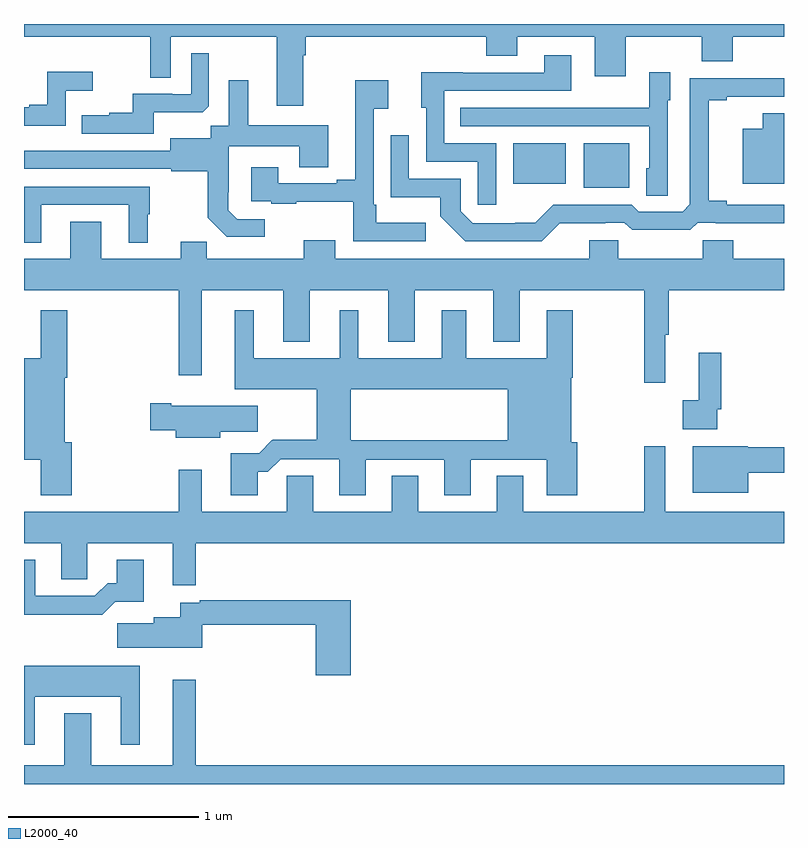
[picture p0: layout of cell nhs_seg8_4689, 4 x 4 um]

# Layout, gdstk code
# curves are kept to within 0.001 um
import gdstk
lib = gdstk.Library(unit=1e-6, precision=1e-09)
def R(c, l, rs):  # rectangles x0, y0, x1, y1
    for r in rs: c.add(gdstk.rectangle(r[:2], r[2:], *l))
def P(c, l, *ps):  # polygons
    for p in ps: c.add(gdstk.Polygon(p, *l))
L2000_40 = (2000, 40)

nhs_seg8_4689 = lib.new_cell('nhs_seg8_4689')
R(nhs_seg8_4689, L2000_40, [(397.946,1117.037,398.185,1117.273), (397.574,1117.058,397.852,1117.273)])
P(nhs_seg8_4689, L2000_40, [(396.469,1117.736),(396.482,1117.736),(396.482,1117.832),(397.433,1117.832),(397.433,1117.733),(397.597,1117.733),(397.597,1117.832),(398.003,1117.832),(398.003,1117.626),(398.167,1117.626),(398.167,1117.832),(398.567,1117.832),(398.567,1117.704),(398.731,1117.704),(398.731,1117.832),(399,1117.832),(399,1117.9),(395,1117.9),(395,1117.832),(395.664,1117.832),(395.664,1117.618),(395.772,1117.618),(395.772,1117.832),(396.329,1117.832),(396.329,1117.47),(396.469,1117.47)],
  [(395.683,1117.436),(395.941,1117.436),(395.973,1117.467),(395.973,1117.747),(395.88,1117.747),(395.88,1117.53),(395.78,1117.53),(395.78,1117.533),(395.573,1117.533),(395.573,1117.432),(395.449,1117.432),(395.449,1117.42),(395.305,1117.42),(395.305,1117.323),(395.683,1117.323)],
  [(397.485,1117.272),(397.212,1117.272),(397.212,1117.548),(397.879,1117.548),(397.879,1117.735),(397.739,1117.735),(397.739,1117.644),(397.309,1117.644),(397.309,1117.646),(397.091,1117.646),(397.091,1117.458),(397.116,1117.458),(397.116,1117.176),(397.389,1117.176),(397.389,1116.948),(397.485,1116.948)],
  [(395.22,1117.55),(395.362,1117.55),(395.362,1117.649),(395.122,1117.649),(395.122,1117.474),(395.027,1117.474),(395.027,1117.461),(395,1117.461),(395,1117.365),(395.22,1117.365)],
  [(398.388,1117.5),(398.401,1117.5),(398.401,1117.645),(398.292,1117.645),(398.292,1117.459),(397.975,1117.459),(397.975,1117.458),(397.297,1117.458),(397.297,1117.362),(398.292,1117.362),(398.292,1117.14),(398.276,1117.14),(398.276,1116.997),(398.388,1116.997)],
  [(397.82,1116.851),(398.06,1116.851),(398.06,1116.855),(398.16,1116.855),(398.2,1116.816),(398.507,1116.816),(398.547,1116.855),(398.641,1116.855),(398.641,1116.851),(399,1116.851),(399,1116.948),(398.698,1116.948),(398.698,1116.971),(398.603,1116.971),(398.603,1117.498),(398.698,1117.498),(398.698,1117.518),(399,1117.518),(399,1117.614),(398.505,1117.614),(398.505,1116.951),(398.466,1116.912),(398.235,1116.912),(398.199,1116.948),(397.785,1116.948),(397.691,1116.854),(397.586,1116.854),(397.586,1116.852),(397.362,1116.852),(397.299,1116.915),(397.299,1117.086),(397.026,1117.086),(397.026,1117.315),(396.93,1117.315),(396.93,1116.989),(397.192,1116.989),(397.192,1116.887),(397.322,1116.756),(397.725,1116.756)],
  [(397.114,1116.853),(396.853,1116.853),(396.853,1116.949),(396.84,1116.949),(396.84,1117.454),(396.916,1117.454),(396.916,1117.603),(396.743,1117.603),(396.743,1117.081),(396.647,1117.081),(396.647,1117.062),(396.337,1117.062),(396.337,1117.147),(396.197,1117.147),(396.197,1116.966),(396.301,1116.966),(396.301,1116.954),(396.433,1116.954),(396.433,1116.965),(396.732,1116.965),(396.732,1116.756),(397.114,1116.756)],
  [(396.268,1116.873),(396.123,1116.873),(396.076,1116.92),(396.076,1117.015),(396.078,1117.015),(396.078,1117.256),(396.449,1117.256),(396.449,1117.147),(396.601,1117.147),(396.601,1117.366),(396.181,1117.366),(396.181,1117.603),(396.077,1117.603),(396.077,1117.364),(395.982,1117.364),(395.982,1117.3),(395.771,1117.3),(395.771,1117.233),(395,1117.234),(395,1117.137),(395.775,1117.137),(395.775,1117.125),(395.967,1117.125),(395.967,1116.879),(396.067,1116.779),(396.268,1116.779)],
  [(399,1117.429),(398.888,1117.429),(398.888,1117.348),(398.783,1117.348),(398.783,1117.058),(399,1117.058)],
  [(395.092,1116.948),(395.552,1116.948),(395.552,1116.749),(395.65,1116.749),(395.65,1116.9),(395.662,1116.9),(395.662,1117.044),(395,1117.044),(395,1116.749),(395.092,1116.749)],
  [(398.375,1116.264),(398.393,1116.264),(398.393,1116.5),(399,1116.5),(399,1116.664),(398.732,1116.664),(398.732,1116.762),(398.572,1116.762),(398.572,1116.664),(398.127,1116.664),(398.127,1116.762),(397.976,1116.762),(397.976,1116.664),(396.637,1116.664),(396.637,1116.763),(396.473,1116.763),(396.473,1116.664),(395.963,1116.664),(395.963,1116.755),(395.825,1116.755),(395.825,1116.664),(395.407,1116.664),(395.407,1116.859),(395.243,1116.859),(395.243,1116.664),(395,1116.664),(395,1116.5),(395.814,1116.5),(395.814,1116.051),(395.935,1116.051),(395.935,1116.5),(396.365,1116.5),(396.365,1116.227),(396.505,1116.227),(396.505,1116.5),(396.917,1116.5),(396.917,1116.227),(397.057,1116.227),(397.057,1116.5),(397.469,1116.5),(397.469,1116.227),(397.609,1116.227),(397.609,1116.5),(398.265,1116.5),(398.265,1116.012),(398.375,1116.012)],
  [(395.252,1115.7),(395.215,1115.7),(395.215,1116.038),(395.228,1116.038),(395.228,1116.394),(395.087,1116.394),(395.087,1116.142),(395,1116.142),(395,1115.607),(395.087,1115.607),(395.087,1115.421),(395.252,1115.421)],
  [(396.089,1115.641),(396.089,1115.421),(396.229,1115.421),(396.229,1115.543),(396.284,1115.543),(396.351,1115.61),(396.659,1115.61),(396.659,1115.421),(396.799,1115.421),(396.799,1115.607),(397.211,1115.607),(397.211,1115.421),(397.351,1115.421),(397.351,1115.607),(397.751,1115.607),(397.751,1115.421),(397.911,1115.421),(397.911,1115.7),(397.879,1115.7),(397.879,1116.038),(397.887,1116.038),(397.887,1116.394),(397.751,1116.394),(397.751,1116.142),(397.327,1116.142),(397.327,1116.394),(397.199,1116.394),(397.199,1116.142),(396.76,1116.142),(396.76,1116.394),(396.662,1116.394),(396.662,1116.142),(396.208,1116.142),(396.208,1116.394),(396.11,1116.394),(396.11,1115.978),(396.541,1115.978),(396.541,1115.711),(396.308,1115.711),(396.305,1115.708),(396.719,1115.708),(396.719,1115.978),(397.547,1115.978),(397.547,1115.708),(396.305,1115.708),(396.238,1115.641)],
  [(398.649,1115.872),(398.669,1115.872),(398.669,1116.169),(398.552,1116.169),(398.552,1115.921),(398.466,1115.921),(398.466,1115.768),(398.649,1115.768)],
  [(396.034,1115.755),(396.229,1115.755),(396.229,1115.89),(395.776,1115.89),(395.776,1115.903),(395.664,1115.903),(395.664,1115.761),(395.798,1115.761),(395.798,1115.723),(396.034,1115.723)],
  [(395.905,1115.168),(399,1115.168),(399,1115.332),(398.374,1115.332),(398.374,1115.677),(398.265,1115.677),(398.265,1115.332),(397.627,1115.332),(397.627,1115.522),(397.487,1115.522),(397.487,1115.332),(397.075,1115.332),(397.075,1115.522),(396.935,1115.522),(396.935,1115.332),(396.523,1115.332),(396.523,1115.522),(396.384,1115.522),(396.384,1115.332),(395.935,1115.332),(395.935,1115.554),(395.814,1115.554),(395.814,1115.332),(395,1115.332),(395,1115.168),(395.195,1115.168),(395.195,1114.978),(395.334,1114.978),(395.334,1115.168),(395.783,1115.168),(395.783,1114.947),(395.905,1114.947)],
  [(398.812,1115.537),(399,1115.537),(399,1115.672),(398.808,1115.672),(398.808,1115.677),(398.519,1115.677),(398.519,1115.432),(398.812,1115.432)],
  [(395.48,1114.859),(395.629,1114.859),(395.629,1115.08),(395.489,1115.08),(395.489,1114.957),(395.44,1114.957),(395.373,1114.89),(395.059,1114.89),(395.059,1115.08),(395,1115.08),(395,1114.792),(395.155,1114.792),(395.155,1114.79),(395.411,1114.79)],
  [(396.719,1114.867),(395.926,1114.867),(395.926,1114.854),(395.822,1114.854),(395.822,1114.777),(395.684,1114.777),(395.684,1114.745),(395.49,1114.745),(395.49,1114.616),(395.939,1114.616),(395.939,1114.738),(396.536,1114.738),(396.536,1114.473),(396.719,1114.473)],
  [(395.056,1114.358),(395.51,1114.358),(395.51,1114.107),(395.608,1114.107),(395.608,1114.522),(395,1114.522),(395,1114.107),(395.056,1114.107)],
  [(399,1114),(395.905,1114),(395.905,1114.45),(395.783,1114.45),(395.783,1114),(395.353,1114),(395.353,1114.273),(395.213,1114.273),(395.213,1114),(395,1114),(395,1113.9),(399,1113.9)])

lib.write_gds('nhs_seg8_4689.gds')
